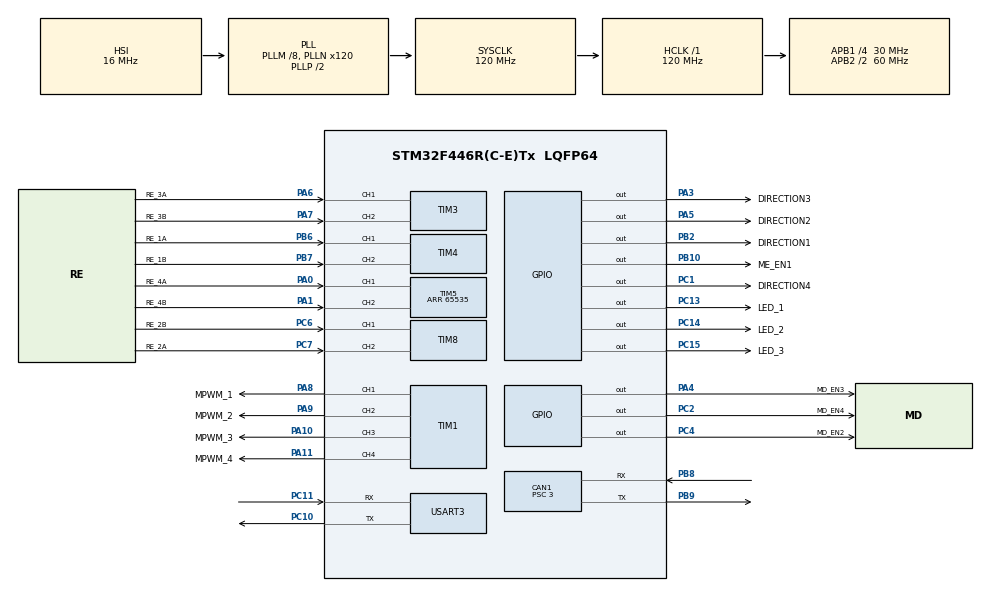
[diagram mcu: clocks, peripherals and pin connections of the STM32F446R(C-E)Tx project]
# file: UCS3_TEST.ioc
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CAN1.BS1=CAN_BS1_7TQ
CAN1.BS2=CAN_BS2_2TQ
CAN1.CalculateBaudRate=1000000
CAN1.CalculateTimeBit=1000
CAN1.CalculateTimeQuantum=100.0
CAN1.Prescaler=3
Mcu.Family=STM32F4
Mcu.Name=STM32F446R(C-E)Tx
Mcu.Package=LQFP64
NVIC.PriorityGroup=NVIC_PRIORITYGROUP_4
PA0-WKUP.GPIO_Label=RE_4A
PA0-WKUP.Signal=S_TIM5_CH1
PA1.GPIO_Label=RE_4B
PA1.Signal=S_TIM5_CH2
PA10.GPIO_Label=MPWM_3
PA10.Signal=S_TIM1_CH3
PA11.GPIO_Label=MPWM_4
PA11.Signal=S_TIM1_CH4
PA3.GPIO_Label=DIRECTION3
PA3.Signal=GPIO_Output
PA4.GPIO_Label=MD_EN3
PA4.Signal=GPIO_Output
PA5.GPIO_Label=DIRECTION2
PA5.Signal=GPIO_Output
PA6.GPIO_Label=RE_3A
PA6.Signal=S_TIM3_CH1
PA7.GPIO_Label=RE_3B
PA7.Signal=S_TIM3_CH2
PA8.GPIO_Label=MPWM_1
PA8.Signal=S_TIM1_CH1
PA9.GPIO_Label=MPWM_2
PA9.Signal=S_TIM1_CH2
PB10.GPIO_Label=ME_EN1
PB10.Signal=GPIO_Output
PB2.GPIO_Label=DIRECTION1
PB2.Signal=GPIO_Output
PB6.GPIO_Label=RE_1A
PB6.Signal=S_TIM4_CH1
PB7.GPIO_Label=RE_1B
PB7.Signal=S_TIM4_CH2
PB8.Mode=CAN_Activate
PB8.Signal=CAN1_RX
PB9.Mode=CAN_Activate
PB9.Signal=CAN1_TX
PC1.GPIO_Label=DIRECTION4
PC1.Signal=GPIO_Output
PC10.Mode=Asynchronous
PC10.Signal=USART3_TX
PC11.Mode=Asynchronous
PC11.Signal=USART3_RX
PC13.GPIO_Label=LED_1
PC13.Signal=GPIO_Output
PC14-OSC32_IN.GPIO_Label=LED_2
PC14-OSC32_IN.Signal=GPIO_Output
PC15-OSC32_OUT.GPIO_Label=LED_3
PC15-OSC32_OUT.Signal=GPIO_Output
PC2.GPIO_Label=MD_EN4
PC2.Signal=GPIO_Output
PC4.GPIO_Label=MD_EN2
PC4.Signal=GPIO_Output
PC6.GPIO_Label=RE_2B
PC6.Signal=S_TIM8_CH1
PC7.GPIO_Label=RE_2A
PC7.Signal=S_TIM8_CH2
ProjectManager.HeapSize=0x200
ProjectManager.StackSize=0x400
ProjectManager.TargetToolchain=STM32CubeIDE
RCC.AHBFreq_Value=120000000
RCC.APB1CLKDivider=RCC_HCLK_DIV4
RCC.APB1Freq_Value=30000000
RCC.APB1TimFreq_Value=60000000
RCC.APB2CLKDivider=RCC_HCLK_DIV2
RCC.APB2Freq_Value=60000000
RCC.APB2TimFreq_Value=120000000
RCC.CortexFreq_Value=120000000
RCC.HCLKFreq_Value=120000000
RCC.PLLM=8
RCC.PLLN=120
RCC.SYSCLKFreq_VALUE=120000000
RCC.SYSCLKSource=RCC_SYSCLKSOURCE_PLLCLK
RCC.USBFreq_Value=120000000
RCC.VCOOutputFreq_Value=240000000
SH.S_TIM1_CH1.0=TIM1_CH1,PWM Generation1 CH1
SH.S_TIM1_CH2.0=TIM1_CH2,PWM Generation2 CH2
SH.S_TIM1_CH3.0=TIM1_CH3,PWM Generation3 CH3
SH.S_TIM1_CH4.0=TIM1_CH4,Output Compare4 CH4
SH.S_TIM3_CH1.0=TIM3_CH1,Encoder_Interface
SH.S_TIM3_CH2.0=TIM3_CH2,Encoder_Interface
SH.S_TIM4_CH1.0=TIM4_CH1,Encoder_Interface
SH.S_TIM4_CH2.0=TIM4_CH2,Encoder_Interface
SH.S_TIM5_CH1.0=TIM5_CH1,Encoder_Interface
SH.S_TIM5_CH2.0=TIM5_CH2,Encoder_Interface
SH.S_TIM8_CH1.0=TIM8_CH1,Encoder_Interface
SH.S_TIM8_CH2.0=TIM8_CH2,Encoder_Interface
TIM1.Channel-Output\ Compare4\ CH4=TIM_CHANNEL_4
TIM1.Channel-PWM\ Generation1\ CH1=TIM_CHANNEL_1
TIM1.Channel-PWM\ Generation2\ CH2=TIM_CHANNEL_2
TIM1.Channel-PWM\ Generation3\ CH3=TIM_CHANNEL_3
TIM4.EncoderMode=TIM_ENCODERMODE_TI12
TIM5.EncoderMode=TIM_ENCODERMODE_TI12
TIM5.Period=65535
TIM8.EncoderMode=TIM_ENCODERMODE_TI12
USART3.VirtualMode=VM_ASYNC
VP_TIM1_VS_ClockSourceINT.Mode=Internal
board=custom

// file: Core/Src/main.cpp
/* USER CODE BEGIN Header */
/**
 ******************************************************************************
 * @file           : main.c
 * @brief          : Main program body
 ******************************************************************************
 * @attention
 *
 * Copyright (c) 2023 STMicroelectronics.
 * All rights reserved.
 *
 * This software is licensed under terms that can be found in the LICENSE file
 * in the root directory of this software component.
 * If no LICENSE file comes with this software, it is provided AS-IS.
 *
 ******************************************************************************
 */
/* USER CODE END Header */
#include "main.h"

#include "pi_ctrl.hpp"

CAN_HandleTypeDef hcan1;

TIM_HandleTypeDef htim1;
TIM_HandleTypeDef htim3;
TIM_HandleTypeDef htim4;
TIM_HandleTypeDef htim5;
TIM_HandleTypeDef htim8;

UART_HandleTypeDef huart3;

void SystemClock_Config(void);
static void MX_GPIO_Init(void);
static void MX_CAN1_Init(void);
static void MX_TIM1_Init(void);
static void MX_TIM3_Init(void);
static void MX_TIM4_Init(void);
static void MX_TIM5_Init(void);
static void MX_TIM8_Init(void);
static void MX_USART3_UART_Init(void);

int main(void) {

    /* MCU
     * Configuration--------------------------------------------------------*/

    /* Reset of all peripherals, Initializes the Flash interface and the
     * Systick. */
    HAL_Init();

    /* Configure the system clock */
    SystemClock_Config();

    /* Initialize all configured peripherals */
    MX_GPIO_Init();
    MX_CAN1_Init();
    MX_TIM1_Init();
    MX_TIM3_Init();
    MX_TIM4_Init();
    MX_TIM5_Init();
    MX_TIM8_Init();
    MX_USART3_UART_Init();
    /* USER CODE BEGIN 2 */
    // CANフィルタ
    CAN_FilterTypeDef filter;
    filter.FilterIdHigh = 0;      // フィルターID(上位16ビット)
    filter.FilterIdLow = 0;       // フィルターID(下位16ビット)
    filter.FilterMaskIdHigh = 0;  // フィルターマスク(上位16ビット)
    filter.FilterMaskIdLow = 0;   // フィルターマスク(下位16ビット)
    filter.FilterScale = CAN_FILTERSCALE_32BIT;  // フィルタースケール
    filter.FilterFIFOAssignment =
        CAN_FILTER_FIFO0;   // フィルターに割り当てるFIFO
    filter.FilterBank = 0;  // フィルターバンクNo
    filter.FilterMode = CAN_FILTERMODE_IDMASK;  // フィルターモード
    filter.SlaveStartFilterBank = 14;  // スレーブCANの開始フィルターバンクNo
    filter.FilterActivation = ENABLE;  // フィルター無効／有効
    HAL_CAN_ConfigFilter(&hcan1, &filter);
    // CANスタート
    HAL_CAN_Start(&hcan1);
    // 割り込み有効
    HAL_CAN_ActivateNotification(&hcan1, CAN_IT_RX_FIFO0_MSG_PENDING);

    /* USER CODE END 2 */

    /* Infinite loop */
    while (1) {

    }
}

void SystemClock_Config(void) {
    RCC_OscInitTypeDef RCC_OscInitStruct = {0};
    RCC_ClkInitTypeDef RCC_ClkInitStruct = {0};

    /** Configure the main internal regulator output voltage
     */
    __HAL_RCC_PWR_CLK_ENABLE();
    __HAL_PWR_VOLTAGESCALING_CONFIG(PWR_REGULATOR_VOLTAGE_SCALE3);

    /** Initializes the RCC Oscillators according to the specified parameters
     * in the RCC_OscInitTypeDef structure.
     */
    RCC_OscInitStruct.OscillatorType = RCC_OSCILLATORTYPE_HSI;
    RCC_OscInitStruct.HSIState = RCC_HSI_ON;
    RCC_OscInitStruct.HSICalibrationValue = RCC_HSICALIBRATION_DEFAULT;
    RCC_OscInitStruct.PLL.PLLState = RCC_PLL_ON;
    RCC_OscInitStruct.PLL.PLLSource = RCC_PLLSOURCE_HSI;
    RCC_OscInitStruct.PLL.PLLM = 8;
    RCC_OscInitStruct.PLL.PLLN = 120;
    RCC_OscInitStruct.PLL.PLLP = RCC_PLLP_DIV2;
    RCC_OscInitStruct.PLL.PLLQ = 2;
    RCC_OscInitStruct.PLL.PLLR = 2;
    if (HAL_RCC_OscConfig(&RCC_OscInitStruct) != HAL_OK) {
        Error_Handler();
    }

    /** Initializes the CPU, AHB and APB buses clocks
     */
    RCC_ClkInitStruct.ClockType = RCC_CLOCKTYPE_HCLK | RCC_CLOCKTYPE_SYSCLK |
                                  RCC_CLOCKTYPE_PCLK1 | RCC_CLOCKTYPE_PCLK2;
    RCC_ClkInitStruct.SYSCLKSource = RCC_SYSCLKSOURCE_PLLCLK;
    RCC_ClkInitStruct.AHBCLKDivider = RCC_SYSCLK_DIV1;
    RCC_ClkInitStruct.APB1CLKDivider = RCC_HCLK_DIV4;
    RCC_ClkInitStruct.APB2CLKDivider = RCC_HCLK_DIV2;

    if (HAL_RCC_ClockConfig(&RCC_ClkInitStruct, FLASH_LATENCY_3) != HAL_OK) {
        Error_Handler();
    }
}

static void MX_CAN1_Init(void) {

    hcan1.Instance = CAN1;
    hcan1.Init.Prescaler = 3;
    hcan1.Init.Mode = CAN_MODE_NORMAL;
    hcan1.Init.SyncJumpWidth = CAN_SJW_1TQ;
    hcan1.Init.TimeSeg1 = CAN_BS1_7TQ;
    hcan1.Init.TimeSeg2 = CAN_BS2_2TQ;
    hcan1.Init.TimeTriggeredMode = DISABLE;
    hcan1.Init.AutoBusOff = DISABLE;
    hcan1.Init.AutoWakeUp = DISABLE;
    hcan1.Init.AutoRetransmission = DISABLE;
    hcan1.Init.ReceiveFifoLocked = DISABLE;
    hcan1.Init.TransmitFifoPriority = DISABLE;
    if (HAL_CAN_Init(&hcan1) != HAL_OK) {
        Error_Handler();
    }
}

static void MX_TIM1_Init(void) {

    TIM_ClockConfigTypeDef sClockSourceConfig = {0};
    TIM_MasterConfigTypeDef sMasterConfig = {0};
    TIM_OC_InitTypeDef sConfigOC = {0};
    TIM_BreakDeadTimeConfigTypeDef sBreakDeadTimeConfig = {0};

    htim1.Instance = TIM1;
    htim1.Init.Prescaler = 0;
    htim1.Init.CounterMode = TIM_COUNTERMODE_UP;
    htim1.Init.Period = 65535;
    htim1.Init.ClockDivision = TIM_CLOCKDIVISION_DIV1;
    htim1.Init.RepetitionCounter = 0;
    htim1.Init.AutoReloadPreload = TIM_AUTORELOAD_PRELOAD_DISABLE;
    if (HAL_TIM_Base_Init(&htim1) != HAL_OK) {
        Error_Handler();
    }
    sClockSourceConfig.ClockSource = TIM_CLOCKSOURCE_INTERNAL;
    if (HAL_TIM_ConfigClockSource(&htim1, &sClockSourceConfig) != HAL_OK) {
        Error_Handler();
    }
    if (HAL_TIM_PWM_Init(&htim1) != HAL_OK) {
        Error_Handler();
    }
    if (HAL_TIM_OC_Init(&htim1) != HAL_OK) {
        Error_Handler();
    }
    sMasterConfig.MasterOutputTrigger = TIM_TRGO_RESET;
    sMasterConfig.MasterSlaveMode = TIM_MASTERSLAVEMODE_DISABLE;
    if (HAL_TIMEx_MasterConfigSynchronization(&htim1, &sMasterConfig) !=
        HAL_OK) {
        Error_Handler();
    }
    sConfigOC.OCMode = TIM_OCMODE_PWM1;
    sConfigOC.Pulse = 0;
    sConfigOC.OCPolarity = TIM_OCPOLARITY_HIGH;
    sConfigOC.OCNPolarity = TIM_OCNPOLARITY_HIGH;
    sConfigOC.OCFastMode = TIM_OCFAST_DISABLE;
    sConfigOC.OCIdleState = TIM_OCIDLESTATE_RESET;
    sConfigOC.OCNIdleState = TIM_OCNIDLESTATE_RESET;
    if (HAL_TIM_PWM_ConfigChannel(&htim1, &sConfigOC, TIM_CHANNEL_1) !=
        HAL_OK) {
        Error_Handler();
    }
    if (HAL_TIM_PWM_ConfigChannel(&htim1, &sConfigOC, TIM_CHANNEL_2) !=
        HAL_OK) {
        Error_Handler();
    }
    if (HAL_TIM_PWM_ConfigChannel(&htim1, &sConfigOC, TIM_CHANNEL_3) !=
        HAL_OK) {
        Error_Handler();
    }
    sConfigOC.OCMode = TIM_OCMODE_TIMING;
    if (HAL_TIM_OC_ConfigChannel(&htim1, &sConfigOC, TIM_CHANNEL_4) != HAL_OK) {
        Error_Handler();
    }
    sBreakDeadTimeConfig.OffStateRunMode = TIM_OSSR_DISABLE;
    sBreakDeadTimeConfig.OffStateIDLEMode = TIM_OSSI_DISABLE;
    sBreakDeadTimeConfig.LockLevel = TIM_LOCKLEVEL_OFF;
    sBreakDeadTimeConfig.DeadTime = 0;
    sBreakDeadTimeConfig.BreakState = TIM_BREAK_DISABLE;
    sBreakDeadTimeConfig.BreakPolarity = TIM_BREAKPOLARITY_HIGH;
    sBreakDeadTimeConfig.AutomaticOutput = TIM_AUTOMATICOUTPUT_DISABLE;
    if (HAL_TIMEx_ConfigBreakDeadTime(&htim1, &sBreakDeadTimeConfig) !=
        HAL_OK) {
        Error_Handler();
    }
    HAL_TIM_MspPostInit(&htim1);
}

static void MX_TIM3_Init(void) {

    TIM_Encoder_InitTypeDef sConfig = {0};
    TIM_MasterConfigTypeDef sMasterConfig = {0};

    htim3.Instance = TIM3;
    htim3.Init.Prescaler = 0;
    htim3.Init.CounterMode = TIM_COUNTERMODE_UP;
    htim3.Init.Period = 65535;
    htim3.Init.ClockDivision = TIM_CLOCKDIVISION_DIV1;
    htim3.Init.AutoReloadPreload = TIM_AUTORELOAD_PRELOAD_DISABLE;
    sConfig.EncoderMode = TIM_ENCODERMODE_TI1;
    sConfig.IC1Polarity = TIM_ICPOLARITY_RISING;
    sConfig.IC1Selection = TIM_ICSELECTION_DIRECTTI;
    sConfig.IC1Prescaler = TIM_ICPSC_DIV1;
    sConfig.IC1Filter = 0;
    sConfig.IC2Polarity = TIM_ICPOLARITY_RISING;
    sConfig.IC2Selection = TIM_ICSELECTION_DIRECTTI;
    sConfig.IC2Prescaler = TIM_ICPSC_DIV1;
    sConfig.IC2Filter = 0;
    if (HAL_TIM_Encoder_Init(&htim3, &sConfig) != HAL_OK) {
        Error_Handler();
    }
    sMasterConfig.MasterOutputTrigger = TIM_TRGO_RESET;
    sMasterConfig.MasterSlaveMode = TIM_MASTERSLAVEMODE_DISABLE;
    if (HAL_TIMEx_MasterConfigSynchronization(&htim3, &sMasterConfig) !=
        HAL_OK) {
        Error_Handler();
    }
}

static void MX_TIM4_Init(void) {

    TIM_Encoder_InitTypeDef sConfig = {0};
    TIM_MasterConfigTypeDef sMasterConfig = {0};

    htim4.Instance = TIM4;
    htim4.Init.Prescaler = 0;
    htim4.Init.CounterMode = TIM_COUNTERMODE_UP;
    htim4.Init.Period = 65535;
    htim4.Init.ClockDivision = TIM_CLOCKDIVISION_DIV1;
    htim4.Init.AutoReloadPreload = TIM_AUTORELOAD_PRELOAD_DISABLE;
    sConfig.EncoderMode = TIM_ENCODERMODE_TI12;
    sConfig.IC1Polarity = TIM_ICPOLARITY_RISING;
    sConfig.IC1Selection = TIM_ICSELECTION_DIRECTTI;
    sConfig.IC1Prescaler = TIM_ICPSC_DIV1;
    sConfig.IC1Filter = 0;
    sConfig.IC2Polarity = TIM_ICPOLARITY_RISING;
    sConfig.IC2Selection = TIM_ICSELECTION_DIRECTTI;
    sConfig.IC2Prescaler = TIM_ICPSC_DIV1;
    sConfig.IC2Filter = 0;
    if (HAL_TIM_Encoder_Init(&htim4, &sConfig) != HAL_OK) {
        Error_Handler();
    }
    sMasterConfig.MasterOutputTrigger = TIM_TRGO_RESET;
    sMasterConfig.MasterSlaveMode = TIM_MASTERSLAVEMODE_DISABLE;
    if (HAL_TIMEx_MasterConfigSynchronization(&htim4, &sMasterConfig) !=
        HAL_OK) {
        Error_Handler();
    }
}

static void MX_TIM5_Init(void) {

    TIM_Encoder_InitTypeDef sConfig = {0};
    TIM_MasterConfigTypeDef sMasterConfig = {0};

    htim5.Instance = TIM5;
    htim5.Init.Prescaler = 0;
    htim5.Init.CounterMode = TIM_COUNTERMODE_UP;
    htim5.Init.Period = 65535;
    htim5.Init.ClockDivision = TIM_CLOCKDIVISION_DIV1;
    htim5.Init.AutoReloadPreload = TIM_AUTORELOAD_PRELOAD_DISABLE;
    sConfig.EncoderMode = TIM_ENCODERMODE_TI12;
    sConfig.IC1Polarity = TIM_ICPOLARITY_RISING;
    sConfig.IC1Selection = TIM_ICSELECTION_DIRECTTI;
    sConfig.IC1Prescaler = TIM_ICPSC_DIV1;
    sConfig.IC1Filter = 0;
    sConfig.IC2Polarity = TIM_ICPOLARITY_RISING;
    sConfig.IC2Selection = TIM_ICSELECTION_DIRECTTI;
    sConfig.IC2Prescaler = TIM_ICPSC_DIV1;
    sConfig.IC2Filter = 0;
    if (HAL_TIM_Encoder_Init(&htim5, &sConfig) != HAL_OK) {
        Error_Handler();
    }
    sMasterConfig.MasterOutputTrigger = TIM_TRGO_RESET;
    sMasterConfig.MasterSlaveMode = TIM_MASTERSLAVEMODE_DISABLE;
    if (HAL_TIMEx_MasterConfigSynchronization(&htim5, &sMasterConfig) !=
        HAL_OK) {
        Error_Handler();
    }
}

static void MX_TIM8_Init(void) {

    TIM_Encoder_InitTypeDef sConfig = {0};
    TIM_MasterConfigTypeDef sMasterConfig = {0};

    htim8.Instance = TIM8;
    htim8.Init.Prescaler = 0;
    htim8.Init.CounterMode = TIM_COUNTERMODE_UP;
    htim8.Init.Period = 65535;
    htim8.Init.ClockDivision = TIM_CLOCKDIVISION_DIV1;
    htim8.Init.RepetitionCounter = 0;
    htim8.Init.AutoReloadPreload = TIM_AUTORELOAD_PRELOAD_DISABLE;
    sConfig.EncoderMode = TIM_ENCODERMODE_TI12;
    sConfig.IC1Polarity = TIM_ICPOLARITY_RISING;
    sConfig.IC1Selection = TIM_ICSELECTION_DIRECTTI;
    sConfig.IC1Prescaler = TIM_ICPSC_DIV1;
    sConfig.IC1Filter = 0;
    sConfig.IC2Polarity = TIM_ICPOLARITY_RISING;
    sConfig.IC2Selection = TIM_ICSELECTION_DIRECTTI;
    sConfig.IC2Prescaler = TIM_ICPSC_DIV1;
    sConfig.IC2Filter = 0;
    if (HAL_TIM_Encoder_Init(&htim8, &sConfig) != HAL_OK) {
        Error_Handler();
    }
    sMasterConfig.MasterOutputTrigger = TIM_TRGO_RESET;
    sMasterConfig.MasterSlaveMode = TIM_MASTERSLAVEMODE_DISABLE;
    if (HAL_TIMEx_MasterConfigSynchronization(&htim8, &sMasterConfig) !=
        HAL_OK) {
        Error_Handler();
    }
}

static void MX_USART3_UART_Init(void) {

    huart3.Instance = USART3;
    huart3.Init.BaudRate = 115200;
    huart3.Init.WordLength = UART_WORDLENGTH_8B;
    huart3.Init.StopBits = UART_STOPBITS_1;
    huart3.Init.Parity = UART_PARITY_NONE;
    huart3.Init.Mode = UART_MODE_TX_RX;
    huart3.Init.HwFlowCtl = UART_HWCONTROL_NONE;
    huart3.Init.OverSampling = UART_OVERSAMPLING_16;
    if (HAL_UART_Init(&huart3) != HAL_OK) {
        Error_Handler();
    }
}

static void MX_GPIO_Init(void) {
    GPIO_InitTypeDef GPIO_InitStruct = {0};

    /* GPIO Ports Clock Enable */
    __HAL_RCC_GPIOC_CLK_ENABLE();
    __HAL_RCC_GPIOA_CLK_ENABLE();
    __HAL_RCC_GPIOB_CLK_ENABLE();

    /*Configure GPIO pin Output Level */
    HAL_GPIO_WritePin(GPIOC,
                      LED_1_Pin | LED_2_Pin | LED_3_Pin | DIRECTION4_Pin |
                          MD_EN4_Pin | MD_EN2_Pin,
                      GPIO_PIN_RESET);

    /*Configure GPIO pin Output Level */
    HAL_GPIO_WritePin(GPIOA, DIRECTION3_Pin | MD_EN3_Pin | DIRECTION2_Pin,
                      GPIO_PIN_RESET);

    /*Configure GPIO pin Output Level */
    HAL_GPIO_WritePin(GPIOB, DIRECTION1_Pin | ME_EN1_Pin, GPIO_PIN_RESET);

    /*Configure GPIO pins : LED_1_Pin LED_2_Pin LED_3_Pin DIRECTION4_Pin
                             MD_EN4_Pin MD_EN2_Pin */
    GPIO_InitStruct.Pin = LED_1_Pin | LED_2_Pin | LED_3_Pin | DIRECTION4_Pin |
                          MD_EN4_Pin | MD_EN2_Pin;
    GPIO_InitStruct.Mode = GPIO_MODE_OUTPUT_PP;
    GPIO_InitStruct.Pull = GPIO_NOPULL;
    GPIO_InitStruct.Speed = GPIO_SPEED_FREQ_LOW;
    HAL_GPIO_Init(GPIOC, &GPIO_InitStruct);

    /*Configure GPIO pins : DIRECTION3_Pin MD_EN3_Pin DIRECTION2_Pin */
    GPIO_InitStruct.Pin = DIRECTION3_Pin | MD_EN3_Pin | DIRECTION2_Pin;
    GPIO_InitStruct.Mode = GPIO_MODE_OUTPUT_PP;
    GPIO_InitStruct.Pull = GPIO_NOPULL;
    GPIO_InitStruct.Speed = GPIO_SPEED_FREQ_LOW;
    HAL_GPIO_Init(GPIOA, &GPIO_InitStruct);

    /*Configure GPIO pins : DIRECTION1_Pin ME_EN1_Pin */
    GPIO_InitStruct.Pin = DIRECTION1_Pin | ME_EN1_Pin;
    GPIO_InitStruct.Mode = GPIO_MODE_OUTPUT_PP;
    GPIO_InitStruct.Pull = GPIO_NOPULL;
    GPIO_InitStruct.Speed = GPIO_SPEED_FREQ_LOW;
    HAL_GPIO_Init(GPIOB, &GPIO_InitStruct);
}

/* USER CODE BEGIN 4 */
uint32_t id;
uint32_t dlc;
uint8_t data[8];

// 割り込み時の関数
void HAL_CAN_RxFifo0MsgPendingCallback(CAN_HandleTypeDef *hcan) {
    // 受信
    CAN_RxHeaderTypeDef RxHeader;
    uint8_t RxData[8];
    if (HAL_CAN_GetRxMessage(hcan, CAN_RX_FIFO0, &RxHeader, RxData) == HAL_OK) {
    	 id = (RxHeader.IDE == CAN_ID_STD) ? RxHeader.StdId
                                          : RxHeader.ExtId;  // ID
        dlc = RxHeader.DLC;                                  // DLC
        data[0] = RxData[0];                                 // Data
        data[1] = RxData[1];
        data[2] = RxData[2];
        data[3] = RxData[3];
        data[4] = RxData[4];
        data[5] = RxData[5];
        data[6] = RxData[6];
        data[7] = RxData[7];
    }
}
/* USER CODE END 4 */

void Error_Handler(void) {
    /* USER CODE BEGIN Error_Handler_Debug */
    /* User can add his own implementation to report the HAL error return state
     */
    __disable_irq();
    while (1) {
    }
    /* USER CODE END Error_Handler_Debug */
}

#ifdef USE_FULL_ASSERT
/**
 * @brief  Reports the name of the source file and the source line number
 *         where the assert_param error has occurred.
 * @param  file: pointer to the source file name
 * @param  line: assert_param error line source number
 * @retval None
 */
void assert_failed(uint8_t *file, uint32_t line) {
    /* USER CODE BEGIN 6 */
    /* User can add his own implementation to report the file name and line
       number, ex: printf("Wrong parameters value: file %s on line %d\r\n",
       file, line) */
    /* USER CODE END 6 */
}
#endif /* USE_FULL_ASSERT */
